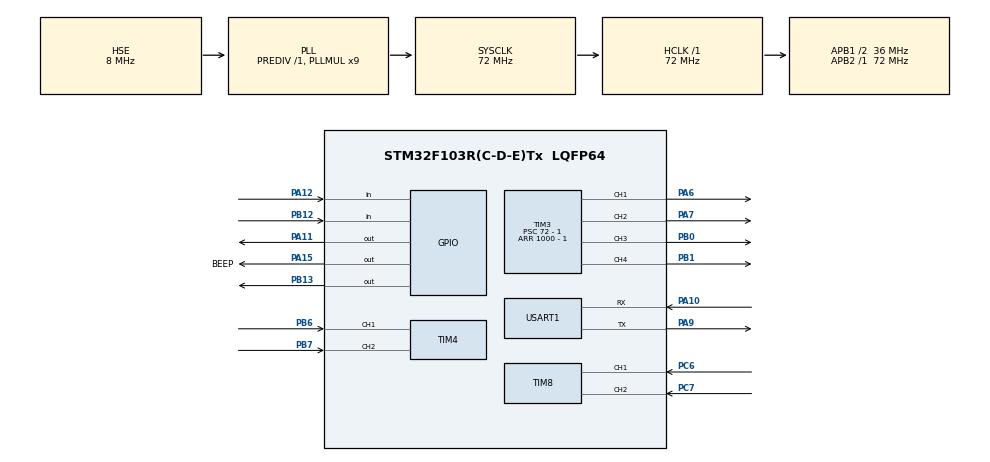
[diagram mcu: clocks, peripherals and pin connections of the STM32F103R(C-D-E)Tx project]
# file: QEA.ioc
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Mcu.Family=STM32F1
Mcu.Name=STM32F103R(C-D-E)Tx
Mcu.Package=LQFP64
NVIC.PriorityGroup=NVIC_PRIORITYGROUP_4
NVIC.TIM6_IRQn=true\:0\:0\:false\:false\:true\:true\:true
PA10.Mode=Asynchronous
PA10.Signal=USART1_RX
PA11.PinState=GPIO_PIN_SET
PA11.Signal=GPIO_Output
PA12.GPIO_PuPd=GPIO_PULLDOWN
PA12.Signal=GPIO_Input
PA13.Mode=Serial_Wire
PA13.Signal=SYS_JTMS-SWDIO
PA14.Mode=Serial_Wire
PA14.Signal=SYS_JTCK-SWCLK
PA15.GPIO_Label=BEEP
PA15.Signal=GPIO_Output
PA6.Signal=S_TIM3_CH1
PA7.Signal=S_TIM3_CH2
PA9.Mode=Asynchronous
PA9.Signal=USART1_TX
PB0.Signal=S_TIM3_CH3
PB1.Signal=S_TIM3_CH4
PB12.GPIO_PuPd=GPIO_PULLDOWN
PB12.Signal=GPIO_Input
PB13.PinState=GPIO_PIN_SET
PB13.Signal=GPIO_Output
PB6.Signal=S_TIM4_CH1
PB7.Signal=S_TIM4_CH2
PC6.Signal=S_TIM8_CH1
PC7.Signal=S_TIM8_CH2
PD0-OSC_IN.Mode=HSE-External-Oscillator
PD0-OSC_IN.Signal=RCC_OSC_IN
PD1-OSC_OUT.Mode=HSE-External-Oscillator
PD1-OSC_OUT.Signal=RCC_OSC_OUT
ProjectManager.HeapSize=0x200
ProjectManager.StackSize=0x400
ProjectManager.TargetToolchain=STM32CubeIDE
RCC.AHBFreq_Value=72000000
RCC.APB1CLKDivider=RCC_HCLK_DIV2
RCC.APB1Freq_Value=36000000
RCC.APB1TimFreq_Value=72000000
RCC.APB2Freq_Value=72000000
RCC.APB2TimFreq_Value=72000000
RCC.HCLKFreq_Value=72000000
RCC.PLLMUL=RCC_PLL_MUL9
RCC.PLLSourceVirtual=RCC_PLLSOURCE_HSE
RCC.SYSCLKFreq_VALUE=72000000
RCC.SYSCLKSource=RCC_SYSCLKSOURCE_PLLCLK
RCC.USBFreq_Value=72000000
SH.S_TIM3_CH1.0=TIM3_CH1,PWM Generation1 CH1
SH.S_TIM3_CH2.0=TIM3_CH2,PWM Generation2 CH2
SH.S_TIM3_CH3.0=TIM3_CH3,PWM Generation3 CH3
SH.S_TIM3_CH4.0=TIM3_CH4,PWM Generation4 CH4
SH.S_TIM4_CH1.0=TIM4_CH1,Encoder_Interface
SH.S_TIM4_CH2.0=TIM4_CH2,Encoder_Interface
SH.S_TIM8_CH1.0=TIM8_CH1,Encoder_Interface
SH.S_TIM8_CH2.0=TIM8_CH2,Encoder_Interface
TIM3.Channel-PWM\ Generation1\ CH1=TIM_CHANNEL_1
TIM3.Channel-PWM\ Generation2\ CH2=TIM_CHANNEL_2
TIM3.Channel-PWM\ Generation3\ CH3=TIM_CHANNEL_3
TIM3.Channel-PWM\ Generation4\ CH4=TIM_CHANNEL_4
TIM3.Period=1000 - 1
TIM3.Prescaler=72 - 1
TIM4.EncoderMode=TIM_ENCODERMODE_TI12
TIM6.Period=1000 - 1
TIM6.Prescaler=72 - 1
TIM8.EncoderMode=TIM_ENCODERMODE_TI12
USART1.VirtualMode=VM_ASYNC
VP_TIM3_VS_ClockSourceINT.Mode=Internal
VP_TIM6_VS_ClockSourceINT.Mode=Enable_Timer
board=custom

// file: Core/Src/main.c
/* USER CODE BEGIN Header */
/**
  ******************************************************************************
  * @file           : main.c
  * @brief          : Main program body
  ******************************************************************************
  * @attention
  *
  * Copyright (c) 2023 STMicroelectronics.
  * All rights reserved.
  *
  * This software is licensed under terms that can be found in the LICENSE file
  * in the root directory of this software component.
  * If no LICENSE file comes with this software, it is provided AS-IS.
  *
  ******************************************************************************
  */
#include <string.h>
#include <stdio.h>
#include <math.h>
/* USER CODE END Header */
#include "main.h"
#include "tim.h"
#include "usart.h"
#include "gpio.h"

/* USER CODE BEGIN PD */

#define PI 3.141592653589793

/* USER CODE END PD */

void SystemClock_Config(void);

/* USER CODE BEGIN 0 */

/*
 * 默认机器人的前方相对坐标系x轴，左方为相对坐标系y轴
 * 启动时，默认前方为绝对坐标系x轴，左方为绝对坐标系y轴
 */

volatile struct WheelPWM
{
    double speed; //当前速度
    double target; //目标速度
    double minPWM; //限制pwm输出范围
    double maxPWM;
    double kp;
    double ki;
    double kd;
    double error;
    double lastError;
    double lastError2;
    double pwm; //pwm输出值
    double pulse; //脉冲数
}wheelPWM1, wheelPWM2;

volatile struct RobotInfo
{
    double VL; //左轮速度
    double VR; //右轮速度
    double VM; //平均速度
    double r; //运行半径
    double L; //车轮间距
    double XPos; //绝对坐标
    double YPos;
    double radian; //方向, 逆时针, 起点x轴
}robotInfo;

void ClearSpeed()
{
    robotInfo.VL = 0;
    robotInfo.VR = 0;
}

void CommitSpeed()
{
    wheelPWM2.target = robotInfo.VL;
    wheelPWM1.target = -robotInfo.VR;

}

void Stop()
{
    ClearSpeed();
    CommitSpeed();
}

/*
 * @param speed 运行速度 r 运行半径
 */
void MoveForward(double speed, double r)
{
    robotInfo.VM = speed;
    robotInfo.r = r;
    robotInfo.VL = (1 - robotInfo.L / (2 * robotInfo.r)) * robotInfo.VM;
    robotInfo.VR = (1 + robotInfo.L / (2 * robotInfo.r)) * robotInfo.VM;
}

/*
 * @param speed 运行速度 r 运行半径 dis 运行距离
 */
void MoveForwardV2(double speed, double r, double dis)
{
    ClearSpeed();
    MoveForward(speed, r);
    CommitSpeed();
    wheelPWM1.pulse = 0;
    wheelPWM2.pulse = 0;
    while (1) {
        double meanDis = (fabs(wheelPWM1.pulse) + fabs(wheelPWM2.pulse)) / 2;
        if (fabs(meanDis) > dis) break;
    }
    Stop();
}

void RobotInit()
{
    robotInfo.L = 13.5;

    wheelPWM1.target = 0;
    wheelPWM1.minPWM = -1000;
    wheelPWM1.maxPWM = 1000;
    wheelPWM1.kp = 960;
    wheelPWM1.ki = 240;
    wheelPWM1.kd = 0;

    wheelPWM2.target = 0;
    wheelPWM2.minPWM = -1000;
    wheelPWM2.maxPWM = 1000;
    wheelPWM2.kp = 960;
    wheelPWM2.ki = 240;
    wheelPWM2.kd = 0;
}

void Do_PID(struct WheelPWM* wheelPWM)
{
    wheelPWM->lastError2 = wheelPWM->lastError;
    wheelPWM->lastError = wheelPWM->error;
    wheelPWM->error = wheelPWM->target - wheelPWM->speed;

    wheelPWM->pwm += wheelPWM->kp * (wheelPWM->error - wheelPWM->lastError) + wheelPWM->ki * wheelPWM->error + wheelPWM->kd * (wheelPWM->error - 2 * wheelPWM->lastError + wheelPWM->lastError2);
    if (wheelPWM->pwm > wheelPWM->maxPWM) wheelPWM->pwm = wheelPWM->maxPWM;
    if (wheelPWM->pwm < wheelPWM->minPWM) wheelPWM->pwm = wheelPWM->minPWM;
}

void PID_Tick()
{
    wheelPWM1.speed = (short) __HAL_TIM_GET_COUNTER(&htim4);
    __HAL_TIM_SET_COUNTER(&htim4, 0);
    wheelPWM1.pulse += wheelPWM1.speed;

    wheelPWM2.speed = (short) __HAL_TIM_GET_COUNTER(&htim8);
    __HAL_TIM_SET_COUNTER(&htim8, 0);
    wheelPWM2.pulse += wheelPWM2.speed;

    Do_PID(&wheelPWM1);
    if (wheelPWM1.pwm > 0) {
        __HAL_TIM_SET_COMPARE(&htim3, TIM_CHANNEL_1, wheelPWM1.pwm);
        __HAL_TIM_SET_COMPARE(&htim3, TIM_CHANNEL_2, 0);
    } else if (wheelPWM1.pwm < 0) {
        __HAL_TIM_SET_COMPARE(&htim3, TIM_CHANNEL_1, 0);
        __HAL_TIM_SET_COMPARE(&htim3, TIM_CHANNEL_2, -wheelPWM1.pwm);
    } else {
        __HAL_TIM_SET_COMPARE(&htim3, TIM_CHANNEL_1, 0);
        __HAL_TIM_SET_COMPARE(&htim3, TIM_CHANNEL_2, 0);
    }

    Do_PID(&wheelPWM2);
    if (wheelPWM2.pwm > 0) {
        __HAL_TIM_SET_COMPARE(&htim3, TIM_CHANNEL_3, wheelPWM2.pwm);
        __HAL_TIM_SET_COMPARE(&htim3, TIM_CHANNEL_4, 0);
    } else if (wheelPWM2.pwm < 0) {
        __HAL_TIM_SET_COMPARE(&htim3, TIM_CHANNEL_3, 0);
        __HAL_TIM_SET_COMPARE(&htim3, TIM_CHANNEL_4, -wheelPWM2.pwm);
    } else {
        __HAL_TIM_SET_COMPARE(&htim3, TIM_CHANNEL_3, 0);
        __HAL_TIM_SET_COMPARE(&htim3, TIM_CHANNEL_4, 0);
    }
}

void HAL_TIM_PeriodElapsedCallback(TIM_HandleTypeDef* htim)
{
    if (htim->Instance == TIM6) {
        PID_Tick();
    }
}

/* USER CODE END 0 */

int main(void)
{

  /* MCU Configuration--------------------------------------------------------*/

  /* Reset of all peripherals, Initializes the Flash interface and the Systick. */
  HAL_Init();

  /* Configure the system clock */
  SystemClock_Config();

  /* Initialize all configured peripherals */
  MX_GPIO_Init();
  MX_TIM3_Init();
  MX_TIM4_Init();
  MX_TIM8_Init();
  MX_USART1_UART_Init();
  MX_TIM6_Init();
  /* USER CODE BEGIN 2 */

    HAL_TIM_PWM_Start(&htim3, TIM_CHANNEL_1);
    HAL_TIM_PWM_Start(&htim3, TIM_CHANNEL_2);
    HAL_TIM_PWM_Start(&htim3, TIM_CHANNEL_3);
    HAL_TIM_PWM_Start(&htim3, TIM_CHANNEL_4);

    HAL_TIM_Encoder_Start(&htim4, TIM_CHANNEL_1 | TIM_CHANNEL_2);
    HAL_TIM_Encoder_Start(&htim8, TIM_CHANNEL_1 | TIM_CHANNEL_2);

    HAL_TIM_Base_Start_IT(&htim6);

    RobotInit();

    double speedList[] = {400, 400,   400,   400,   400,   400,   400,   400,   400,   400,   400,   400,   400,   400,   400,   400, };
    double rList[] = {    1,   6.7,     7,     7,     8,    12,    13,    15,    17,    22,    23,    24,    24,    24,    24,    24, 0};
    double disList[] = {8000, 8000, 25300, 25300, 55300, 88000, 88000, 88000, 88000, 88000, 88000, 88000, 88000, 88000, 88000, 10000, };

    for (int i = 0; rList[i] != 0; ++i) {
        MoveForwardV2(speedList[i], rList[i], disList[i]);
    }

    Stop();

  /* USER CODE END 2 */

  /* Infinite loop */
  /* USER CODE BEGIN WHILE */
  while (1)
  {
    char buff[64] = {0};
      snprintf(buff, 64, "speed:%.2f pwm:%.2f\r\n", wheelPWM1.speed, wheelPWM1.pwm);
      HAL_UART_Transmit(&huart1, buff, strlen(buff), 100);
      HAL_Delay(50);

    /* USER CODE END WHILE */

  }
}

void SystemClock_Config(void)
{
  RCC_OscInitTypeDef RCC_OscInitStruct = {0};
  RCC_ClkInitTypeDef RCC_ClkInitStruct = {0};

  /** Initializes the RCC Oscillators according to the specified parameters
  * in the RCC_OscInitTypeDef structure.
  */
  RCC_OscInitStruct.OscillatorType = RCC_OSCILLATORTYPE_HSE;
  RCC_OscInitStruct.HSEState = RCC_HSE_ON;
  RCC_OscInitStruct.HSEPredivValue = RCC_HSE_PREDIV_DIV1;
  RCC_OscInitStruct.HSIState = RCC_HSI_ON;
  RCC_OscInitStruct.PLL.PLLState = RCC_PLL_ON;
  RCC_OscInitStruct.PLL.PLLSource = RCC_PLLSOURCE_HSE;
  RCC_OscInitStruct.PLL.PLLMUL = RCC_PLL_MUL9;
  if (HAL_RCC_OscConfig(&RCC_OscInitStruct) != HAL_OK)
  {
    Error_Handler();
  }
  /** Initializes the CPU, AHB and APB buses clocks
  */
  RCC_ClkInitStruct.ClockType = RCC_CLOCKTYPE_HCLK|RCC_CLOCKTYPE_SYSCLK
                              |RCC_CLOCKTYPE_PCLK1|RCC_CLOCKTYPE_PCLK2;
  RCC_ClkInitStruct.SYSCLKSource = RCC_SYSCLKSOURCE_PLLCLK;
  RCC_ClkInitStruct.AHBCLKDivider = RCC_SYSCLK_DIV1;
  RCC_ClkInitStruct.APB1CLKDivider = RCC_HCLK_DIV2;
  RCC_ClkInitStruct.APB2CLKDivider = RCC_HCLK_DIV1;

  if (HAL_RCC_ClockConfig(&RCC_ClkInitStruct, FLASH_LATENCY_2) != HAL_OK)
  {
    Error_Handler();
  }
}

void Error_Handler(void)
{
  __disable_irq();
  while (1)
  {
  }
}
